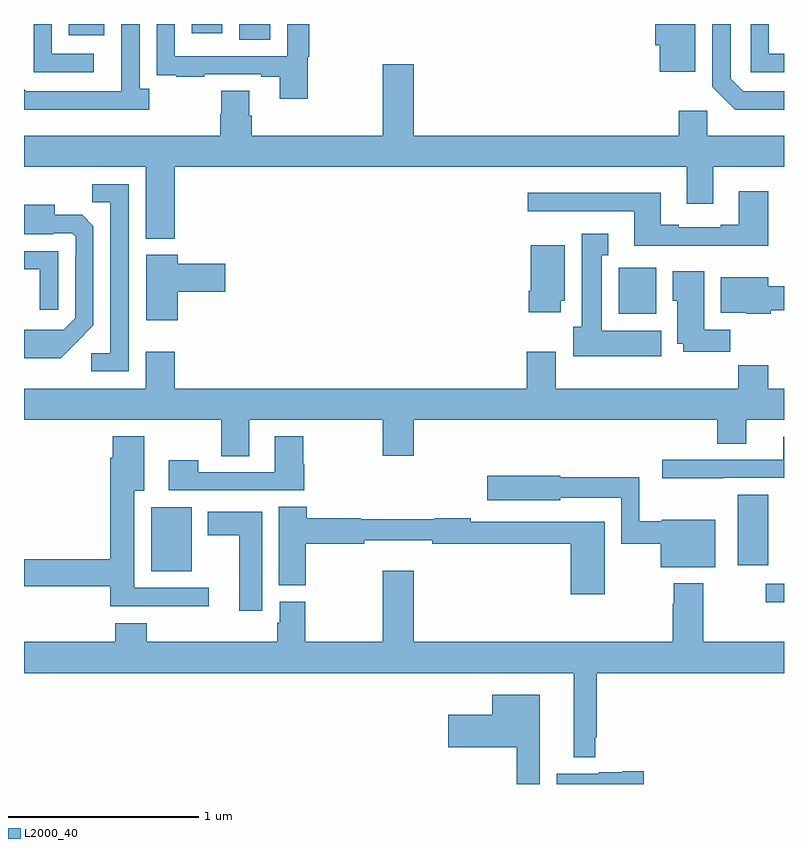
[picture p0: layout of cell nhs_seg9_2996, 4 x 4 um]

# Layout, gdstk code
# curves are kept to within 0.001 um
import gdstk
lib = gdstk.Library(unit=1e-6, precision=1e-09)
def R(c, l, rs):  # rectangles x0, y0, x1, y1
    for r in rs: c.add(gdstk.rectangle(r[:2], r[2:], *l))
def P(c, l, *ps):  # polygons
    for p in ps: c.add(gdstk.Polygon(p, *l))
L2000_40 = (2000, 40)

nhs_seg9_2996 = lib.new_cell('nhs_seg9_2996')
R(nhs_seg9_2996, L2000_40, [(286.905,1199.456,287,1199.553), (283.67,1199.621,283.882,1199.956), (286.757,1199.652,286.918,1200.022), (286.13,1200.974,286.327,1201.216), (284.132,1202.416,284.296,1202.5), (283.235,1202.441,283.423,1202.5), (283.883,1202.451,284.044,1202.5)])
P(nhs_seg9_2996, L2000_40, [(283.66,1202.158),(283.608,1202.158),(283.608,1202.5),(283.512,1202.5),(283.512,1202.345),(283.511,1202.345),(283.511,1202.145),(283.011,1202.145),(283,1202.156),(283,1202.048),(283.66,1202.048)],
  [(287,1202.145),(286.785,1202.145),(286.719,1202.211),(286.719,1202.5),(286.623,1202.5),(286.623,1202.169),(286.744,1202.048),(287,1202.048)],
  [(287,1202.343),(286.92,1202.343),(286.92,1202.5),(286.824,1202.5),(286.824,1202.247),(287,1202.247)],
  [(283.366,1202.343),(283.146,1202.343),(283.146,1202.5),(283.05,1202.5),(283.05,1202.247),(283.366,1202.247)],
  [(286.534,1202.5),(286.322,1202.5),(286.322,1202.388),(286.346,1202.388),(286.346,1202.249),(286.534,1202.249)],
  [(284.494,1202.328),(284.501,1202.328),(284.501,1202.5),(284.385,1202.5),(284.385,1202.331),(283.794,1202.331),(283.794,1202.5),(283.698,1202.5),(283.698,1202.338),(283.699,1202.338),(283.699,1202.229),(283.801,1202.229),(283.801,1202.223),(283.949,1202.223),(283.949,1202.235),(284.249,1202.235),(284.249,1202.223),(284.345,1202.223),(284.345,1202.106),(284.494,1202.106)],
  [(283.793,1201.748),(286.487,1201.748),(286.487,1201.554),(286.627,1201.554),(286.627,1201.748),(287,1201.748),(287,1201.912),(286.596,1201.912),(286.596,1202.044),(286.445,1202.044),(286.445,1201.912),(285.052,1201.912),(285.052,1202.287),(284.888,1202.287),(284.888,1201.912),(284.198,1201.912),(284.198,1202.018),(284.185,1202.018),(284.185,1202.15),(284.038,1202.15),(284.038,1202.025),(284.033,1202.025),(284.033,1201.912),(283,1201.912),(283,1201.748),(283.64,1201.748),(283.64,1201.37),(283.793,1201.37)],
  [(283.551,1201.656),(283.36,1201.656),(283.36,1201.561),(283.455,1201.561),(283.455,1200.768),(283.353,1200.768),(283.353,1200.672),(283.551,1200.672)],
  [(286.916,1201.621),(286.763,1201.621),(286.763,1201.444),(286.667,1201.444),(286.667,1201.431),(286.447,1201.431),(286.447,1201.444),(286.351,1201.444),(286.351,1201.612),(285.651,1201.612),(285.651,1201.515),(286.211,1201.515),(286.211,1201.334),(286.916,1201.334)],
  [(283.273,1200.821),(283.365,1200.914),(283.365,1201.436),(283.306,1201.495),(283.162,1201.495),(283.162,1201.549),(283,1201.549),(283,1201.394),(283.154,1201.394),(283.154,1201.398),(283.254,1201.398),(283.272,1201.38),(283.272,1201.28),(283.269,1201.28),(283.269,1200.951),(283.209,1200.891),(283,1200.892),(283,1200.74),(283.193,1200.74)],
  [(286.354,1200.886),(286.042,1200.886),(286.042,1201.283),(286.075,1201.283),(286.075,1201.396),(285.935,1201.396),(285.935,1200.906),(285.89,1200.906),(285.89,1200.752),(286.354,1200.752)],
  [(285.826,1201.044),(285.847,1201.044),(285.847,1201.336),(285.668,1201.336),(285.668,1201.096),(285.656,1201.096),(285.656,1200.984),(285.826,1200.984)],
  [(283.179,1201.305),(283,1201.305),(283,1201.209),(283.083,1201.209),(283.083,1200.996),(283.179,1200.996)],
  [(283.81,1201.091),(284.059,1201.091),(284.059,1201.238),(283.81,1201.238),(283.81,1201.285),(283.643,1201.285),(283.643,1200.942),(283.81,1200.942)],
  [(286.718,1200.892),(286.579,1200.892),(286.579,1201.198),(286.415,1201.198),(286.415,1201.044),(286.439,1201.044),(286.439,1200.818),(286.469,1200.818),(286.469,1200.774),(286.718,1200.774)],
  [(286.931,1200.993),(287,1200.993),(287,1201.121),(286.918,1201.121),(286.918,1201.168),(286.667,1201.168),(286.667,1200.98),(286.8,1200.98),(286.8,1200.974),(286.931,1200.974)],
  [(284.185,1200.416),(284.888,1200.416),(284.888,1200.228),(285.052,1200.228),(285.052,1200.416),(286.649,1200.416),(286.649,1200.292),(286.801,1200.292),(286.801,1200.416),(287,1200.416),(287,1200.58),(286.916,1200.58),(286.916,1200.704),(286.759,1200.704),(286.759,1200.58),(285.799,1200.58),(285.799,1200.775),(285.647,1200.775),(285.647,1200.58),(283.793,1200.58),(283.793,1200.775),(283.64,1200.775),(283.64,1200.58),(283,1200.58),(283,1200.416),(284.038,1200.416),(284.038,1200.226),(284.185,1200.226)],
  [(284.474,1200.183),(284.469,1200.183),(284.469,1200.331),(284.321,1200.331),(284.321,1200.141),(283.917,1200.141),(283.917,1200.205),(283.761,1200.205),(283.761,1200.045),(284.474,1200.045)],
  [(283.972,1199.532),(283.579,1199.532),(283.579,1200.044),(283.633,1200.044),(283.633,1200.331),(283.466,1200.331),(283.466,1200.218),(283.454,1200.218),(283.454,1199.684),(283,1199.684),(283,1199.542),(283.454,1199.542),(283.454,1199.435),(283.972,1199.435)],
  [(286.679,1200.111),(287,1200.111),(287,1200.327),(286.997,1200.327),(286.997,1200.207),(286.359,1200.207),(286.359,1200.109),(286.679,1200.109)],
  [(286.639,1199.89),(286.356,1199.89),(286.356,1199.883),(286.239,1199.883),(286.239,1200.115),(285.822,1200.115),(285.822,1200.123),(285.438,1200.123),(285.438,1199.993),(285.822,1199.993),(285.822,1200.006),(286.143,1200.006),(286.143,1199.764),(286.352,1199.764),(286.352,1199.642),(286.639,1199.642)],
  [(286.056,1199.88),(285.35,1199.88),(285.35,1199.9),(285.161,1199.9),(285.161,1199.893),(284.772,1199.893),(284.772,1199.9),(284.489,1199.9),(284.489,1199.96),(284.342,1199.96),(284.342,1199.545),(284.484,1199.545),(284.484,1199.764),(284.792,1199.764),(284.792,1199.783),(285.148,1199.783),(285.148,1199.764),(285.878,1199.764),(285.878,1199.499),(286.056,1199.499)],
  [(284.254,1199.932),(283.967,1199.932),(283.967,1199.81),(284.132,1199.81),(284.132,1199.412),(284.254,1199.412)],
  [(286.007,1198.747),(286.015,1198.747),(286.015,1199.084),(287,1199.084),(287,1199.248),(286.575,1199.248),(286.575,1199.557),(286.42,1199.557),(286.42,1199.45),(286.415,1199.45),(286.415,1199.248),(285.052,1199.248),(285.052,1199.623),(284.888,1199.623),(284.888,1199.248),(284.481,1199.248),(284.481,1199.46),(284.345,1199.46),(284.345,1199.349),(284.333,1199.349),(284.333,1199.248),(283.646,1199.248),(283.646,1199.347),(283.481,1199.347),(283.481,1199.248),(283,1199.248),(283,1199.084),(285.893,1199.084),(285.893,1198.64),(286.007,1198.64)],
  [(285.715,1198.969),(285.464,1198.969),(285.464,1198.864),(285.234,1198.864),(285.234,1198.694),(285.594,1198.694),(285.594,1198.5),(285.715,1198.5)],
  [(286.261,1198.568),(286.148,1198.568),(286.148,1198.561),(286.026,1198.561),(286.026,1198.555),(285.803,1198.555),(285.803,1198.5),(286.261,1198.5)])

lib.write_gds('nhs_seg9_2996.gds')
